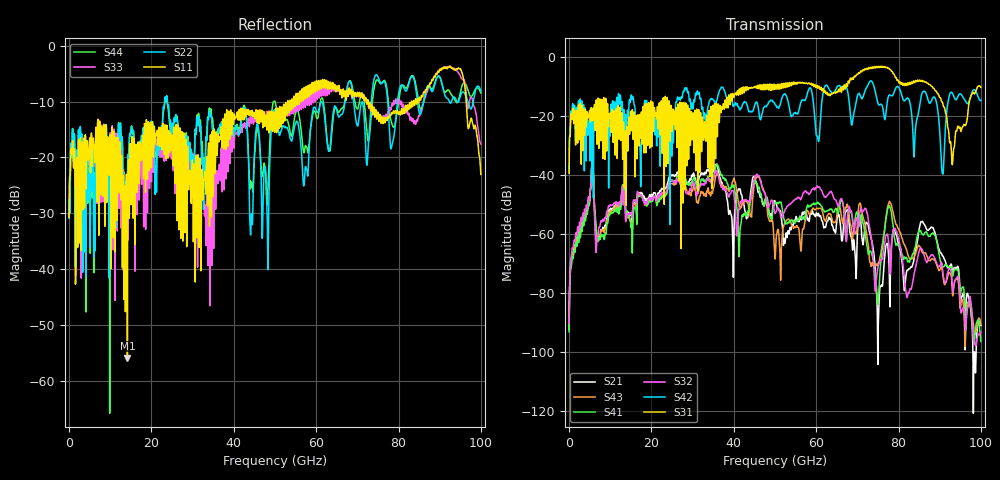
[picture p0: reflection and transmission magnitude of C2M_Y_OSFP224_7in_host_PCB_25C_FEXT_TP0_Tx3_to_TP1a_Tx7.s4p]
# GHz S RI R 45
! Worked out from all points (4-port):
!   4000 points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, 25 MHz to 100 GHz, reference 45 ohm
!   strongest paths, dB at 25 MHz, 25.02 GHz, 50.02 GHz, 75.03 GHz, 100 GHz:
!     S31: -39.4, -24.4, -10.8, -3.5, -10.1
!     S42: -38.8, -30.3, -16.0, -15.6, -14.6
!     S32: -90.3, -41.9, -53.0, -71.1, -93.3
!     S41: -93.2, -41.6, -49.2, -83.1, -96.5
!     S43: -92.3, -42.8, -68.4, -69.9, -90.6
!     S21: -91.8, -39.9, -48.9, -96.0, -91.0
!   lowest |S11| = -55.9 dB at 14.18 GHz (marker M1), VSWR 1.00, Z = 45 + j0.144 ohm
!   |S11| at or under -10 dB: start of sweep to 53.07 GHz; 72.61 GHz to 83.15 GHz (10.53 GHz wide, 13.5 % of centre); 96.43 GHz to end of sweep (the widest 3 of 15)
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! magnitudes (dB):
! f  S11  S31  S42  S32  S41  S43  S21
! 25 MHz  -30.7  -39.4  -38.8  -90.3  -93.2  -92.3  -91.8
! 5.55 GHz  -17.1  -20.0  -42.4  -38.8  -39.0  -39.0  -38.8
! 14.18 GHz  -55.9  -24.9  -18.1  -53.4  -52.7  -53.8  -52.5
! 60.48 GHz  -6.5  -10.5  -28.0  -44.0  -49.3  -51.3  -53.0
! 90.67 GHz  -4.0  -15.3  -39.5  -72.0  -71.2  -73.0  -67.4
! 93.17 GHz  -4.1  -35.0  -12.4  -79.7  -74.3  -81.0  -72.9
! 100 GHz  -23.0  -10.1  -14.6  -93.3  -96.5  -90.6  -91.0
